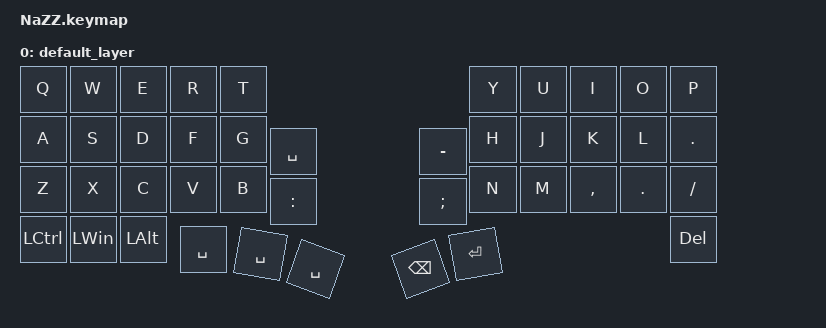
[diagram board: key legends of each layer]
#include <behaviors.dtsi>
#include <dt-bindings/zmk/bt.h>
#include <dt-bindings/zmk/keys.h>
#include <dt-bindings/zmk/pointing.h>

/ {
    keymap {
        compatible = "zmk,keymap";

        default_layer {
            bindings = <
&kp Q             &kp W         &kp E         &kp R       &kp T                                    &kp Y        &kp U  &kp I      &kp O    &kp P
&kp A             &kp S         &kp D         &kp F       &kp G        &kp SPACE    &kp MINUS      &kp H        &kp J  &kp K      &kp L    &kp DOT
&kp Z             &kp X         &kp C         &kp V       &kp B        &kp COLON    &kp SEMICOLON  &kp N        &kp M  &kp COMMA  &kp DOT  &kp SLASH
&kp LCTRL         &kp LEFT_WIN  &kp LEFT_ALT  &kp SPACE   &kp SPACE  &kp SPACE      &kp BACKSPACE  &kp ENTER                               &kp DEL
            >;
        };
    };
};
